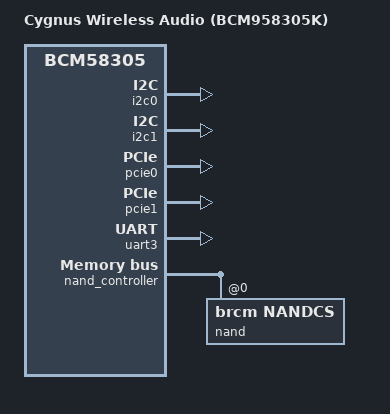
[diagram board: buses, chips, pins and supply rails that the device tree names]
/dts-v1/;
#include "bcm-cygnus.dtsi"
#include "bcm9hmidc.dtsi"
/ {
	model = "Cygnus Wireless Audio (BCM958305K)";
	compatible = "brcm,bcm58305", "brcm,cygnus";
	aliases {
		serial0 = &uart3;
	};
	chosen {
		stdout-path = "serial0:115200n8";
	};
};
&i2c0 {
	status = "okay";
};
&i2c1 {
	status = "okay";
};
&pcie0 {
	status = "okay";
};
&pcie1 {
	status = "okay";
};
&uart3 {
	status = "okay";
};
&nand_controller {
	nand@1 {
		compatible = "brcm,nandcs";
		reg = <0>;
		nand-on-flash-bbt;
		#address-cells = <1>;
		#size-cells = <1>;
		nand-ecc-strength = <24>;
		nand-ecc-step-size = <1024>;
		brcm,nand-oob-sector-size = <27>;
	};
};
